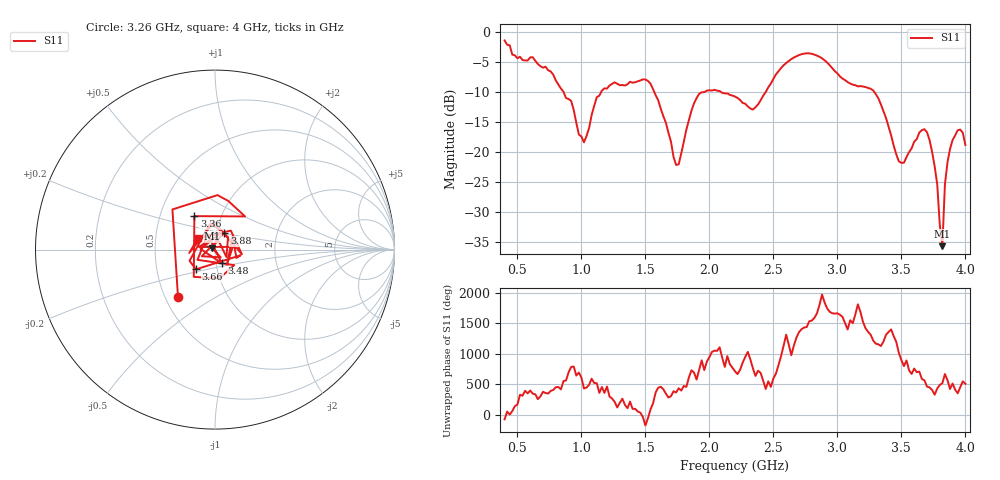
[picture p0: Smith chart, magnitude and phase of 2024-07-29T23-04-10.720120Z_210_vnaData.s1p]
!Created with skrf (http://scikit-rf.org).
# Hz S RI R 50.0
!freq ReS11 ImS11
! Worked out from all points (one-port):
!   181 points, 400 MHz to 4 GHz, reference 50 ohm
!   lowest |S11| = -35.7 dB at 3.82 GHz (marker M1), VSWR 1.03, Z = 48.5 + j0.658 ohm
!   |S11| at or under -10 dB: 1.57 GHz to 1.961 GHz (391 MHz wide, 22.1 % of centre); 2.092 GHz to 2.44 GHz (347.6 MHz wide, 15.3 % of centre); 3.289 GHz to end of sweep (the widest 3 of 4)
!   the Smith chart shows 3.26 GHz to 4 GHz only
!   S11 on the Smith chart (normalised r, x): 3.26 GHz: 0.58, -0.35; 3.36 GHz: 0.74, +0.29; 3.48 GHz: 1.06, -0.16; 3.66 GHz: 0.79, -0.18; 3.88 GHz: 1.09, +0.20; 4 GHz: 0.82, +0.10
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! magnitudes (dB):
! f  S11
! 400 MHz  -1.4
! 860 MHz  -9.9
! 920 MHz  -11.5
! 1.02 GHz  -18.4
! 1.12 GHz  -10.9
! 1.3 GHz  -8.8
! 1.54 GHz  -8.6
! 1.76 GHz  -22.0
! 1.86 GHz  -13.1
! 1.92 GHz  -10.3
! 2.2 GHz  -10.7
! 2.34 GHz  -12.9
! 2.66 GHz  -4.2
! 2.86 GHz  -4.1
! 3.1 GHz  -8.6
! 3.26 GHz  -9.4
! 3.36 GHz  -13.2
! 3.48 GHz  -21.5
! 3.56 GHz  -20.0
! 3.66 GHz  -16.3
! 3.74 GHz  -20.0
! 3.78 GHz  -25.4
! 3.8 GHz  -32.2
! 3.82 GHz  -35.7
! 3.84 GHz  -25.4
! 3.88 GHz  -19.5
! 3.96 GHz  -16.2
! 4 GHz  -18.8
